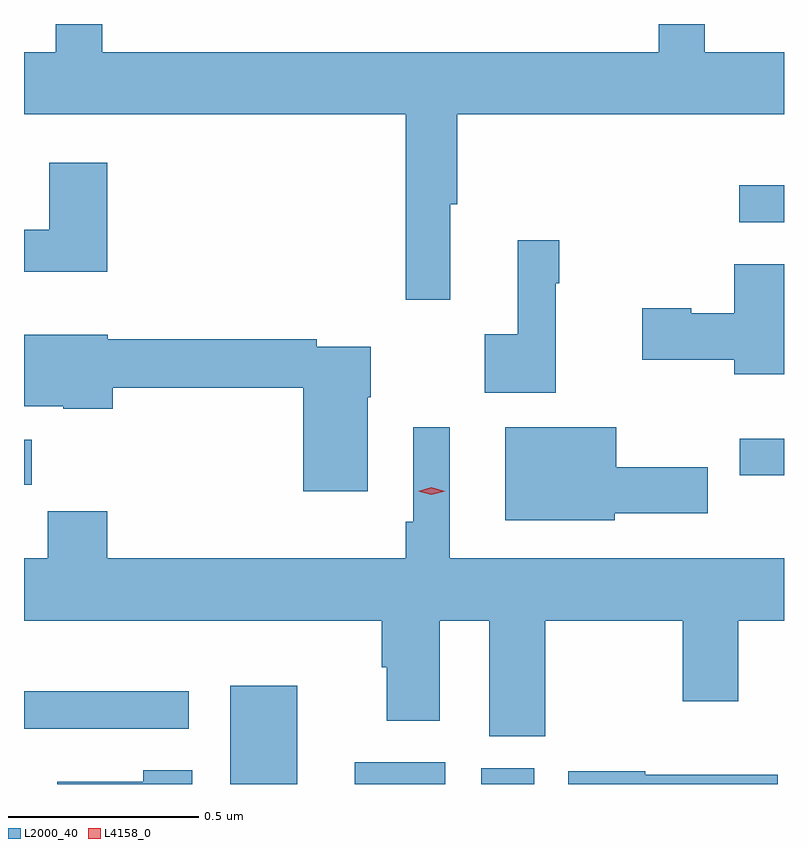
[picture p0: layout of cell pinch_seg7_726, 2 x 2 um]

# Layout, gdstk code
import gdstk
lib = gdstk.Library(unit=1e-6, precision=1e-09)
def R(c, l, rs):  # rectangles x0, y0, x1, y1
    for r in rs: c.add(gdstk.rectangle(r[:2], r[2:], *l))
def P(c, l, *ps):  # polygons
    for p in ps: c.add(gdstk.Polygon(p, *l))
L2000_40 = (2000, 40)
L4158_0 = (4158, 0)

pinch_seg7_726 = lib.new_cell('pinch_seg7_726')
R(pinch_seg7_726, L2000_40, [(311.66,1016.17,311.836,1016.428), (311.987,1016.17,312.226,1016.227), (312.32,1016.17,312.46,1016.211), (311.117,1016.958,311.138,1017.076), (313.001,1016.982,313.117,1017.079), (312.999,1017.648,313.117,1017.746)])
P(pinch_seg7_726, L2000_40, [(312.239,1017.696),(312.257,1017.696),(312.257,1017.932),(313.117,1017.932),(313.117,1018.096),(312.908,1018.096),(312.908,1018.17),(312.787,1018.17),(312.787,1018.096),(311.323,1018.096),(311.323,1018.17),(311.201,1018.17),(311.201,1018.096),(311.117,1018.096),(311.117,1017.932),(312.121,1017.932),(312.121,1017.444),(312.239,1017.444)],
  [(311.336,1017.805),(311.183,1017.805),(311.183,1017.628),(311.117,1017.628),(311.117,1017.518),(311.336,1017.518)],
  [(312.516,1017.488),(312.526,1017.488),(312.526,1017.601),(312.416,1017.601),(312.416,1017.353),(312.33,1017.353),(312.33,1017.2),(312.516,1017.2)],
  [(313.117,1017.538),(312.986,1017.538),(312.986,1017.409),(312.873,1017.409),(312.873,1017.422),(312.744,1017.422),(312.744,1017.287),(312.986,1017.287),(312.986,1017.248),(313.117,1017.248)],
  [(312.022,1017.188),(312.03,1017.188),(312.03,1017.321),(311.888,1017.321),(311.888,1017.341),(311.338,1017.341),(311.338,1017.352),(311.117,1017.352),(311.117,1017.164),(311.22,1017.164),(311.22,1017.158),(311.351,1017.158),(311.351,1017.213),(311.852,1017.213),(311.852,1016.94),(312.022,1016.94)],
  [(312.672,1016.882),(312.916,1016.882),(312.916,1017.004),(312.676,1017.004),(312.676,1017.109),(312.383,1017.109),(312.383,1016.864),(312.672,1016.864)],
  [(312.489,1016.6),(312.85,1016.6),(312.85,1016.388),(312.997,1016.388),(312.997,1016.6),(313.117,1016.6),(313.117,1016.764),(312.238,1016.764),(312.238,1017.109),(312.141,1017.109),(312.141,1016.86),(312.121,1016.86),(312.121,1016.764),(311.336,1016.764),(311.336,1016.888),(311.179,1016.888),(311.179,1016.764),(311.117,1016.764),(311.117,1016.6),(312.059,1016.6),(312.059,1016.477),(312.071,1016.477),(312.071,1016.337),(312.211,1016.337),(312.211,1016.6),(312.341,1016.6),(312.341,1016.296),(312.489,1016.296)],
  [(311.551,1016.414),(311.117,1016.414),(311.117,1016.316),(311.212,1016.316),(311.212,1016.315),(311.551,1016.315)],
  [(311.56,1016.206),(311.431,1016.206),(311.431,1016.176),(311.204,1016.176),(311.204,1016.17),(311.56,1016.17)],
  [(313.101,1016.194),(312.752,1016.194),(312.752,1016.204),(312.549,1016.204),(312.549,1016.17),(313.101,1016.17)])
P(pinch_seg7_726, L4158_0, [(312.189,1016.931),(312.154,1016.941),(312.154,1016.941),(312.154,1016.941),(312.189,1016.951),(312.225,1016.941),(312.225,1016.941),(312.225,1016.941)])

lib.write_gds('pinch_seg7_726.gds')
